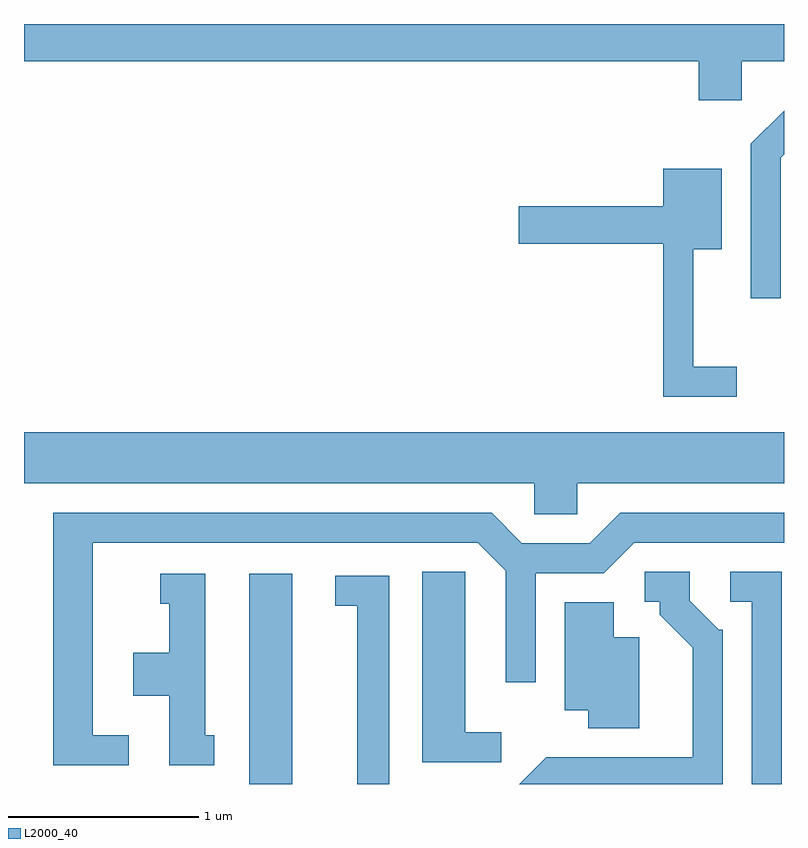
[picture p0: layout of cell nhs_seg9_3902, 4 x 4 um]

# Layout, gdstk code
import gdstk
lib = gdstk.Library(unit=1e-6, precision=1e-09)
def R(c, l, rs):  # rectangles x0, y0, x1, y1
    for r in rs: c.add(gdstk.rectangle(r[:2], r[2:], *l))
def P(c, l, *ps):  # polygons
    for p in ps: c.add(gdstk.Polygon(p, *l))
L2000_40 = (2000, 40)

nhs_seg9_3902 = lib.new_cell('nhs_seg9_3902')
R(nhs_seg9_3902, L2000_40, [(300.796,2012.432,301.024,2013.539)])
P(nhs_seg9_3902, L2000_40, [(303.389,2016.236),(303.611,2016.236),(303.611,2016.432),(299.611,2016.432),(299.611,2016.236),(303.161,2016.236),(303.161,2016.031),(303.389,2016.031)],
  [(303.594,2015.729),(303.611,2015.746),(303.611,2015.976),(303.436,2015.802),(303.436,2014.988),(303.594,2014.988)],
  [(303.363,2014.629),(303.134,2014.629),(303.134,2015.246),(303.284,2015.246),(303.284,2015.669),(302.976,2015.669),(302.976,2015.474),(302.216,2015.474),(302.216,2015.276),(302.976,2015.276),(302.976,2014.471),(303.363,2014.471)],
  [(302.524,2014.016),(303.611,2014.016),(303.611,2014.284),(299.611,2014.284),(299.611,2014.016),(302.296,2014.016),(302.296,2013.851),(302.524,2013.851)],
  [(300.163,2012.689),(299.974,2012.689),(299.974,2013.701),(301.999,2013.701),(302.146,2013.554),(302.146,2012.968),(302.304,2012.968),(302.304,2013.541),(302.662,2013.541),(302.822,2013.701),(303.611,2013.701),(303.611,2013.859),(302.749,2013.859),(302.589,2013.699),(302.232,2013.699),(302.072,2013.859),(299.766,2013.859),(299.766,2012.531),(300.163,2012.531)],
  [(303.289,2013.244),(303.267,2013.244),(303.114,2013.397),(303.114,2013.549),(302.878,2013.549),(302.878,2013.391),(302.956,2013.391),(302.956,2013.324),(303.131,2013.149),(303.131,2012.574),(302.359,2012.574),(302.217,2012.432),(303.289,2012.432)],
  [(303.599,2013.549),(303.328,2013.549),(303.328,2013.391),(303.441,2013.391),(303.441,2012.432),(303.599,2012.432)],
  [(302.123,2012.704),(301.934,2012.704),(301.934,2013.549),(301.706,2013.549),(301.706,2012.546),(302.123,2012.546)],
  [(300.613,2012.689),(300.564,2012.689),(300.564,2013.539),(300.328,2013.539),(300.328,2013.381),(300.376,2013.381),(300.376,2013.124),(300.186,2013.124),(300.186,2012.896),(300.376,2012.896),(300.376,2012.531),(300.613,2012.531)],
  [(301.534,2013.529),(301.248,2013.529),(301.248,2013.371),(301.366,2013.371),(301.366,2012.432),(301.534,2012.432)],
  [(302.849,2013.204),(302.714,2013.204),(302.714,2013.389),(302.456,2013.389),(302.456,2012.821),(302.581,2012.821),(302.581,2012.726),(302.849,2012.726)])

lib.write_gds('nhs_seg9_3902.gds')
